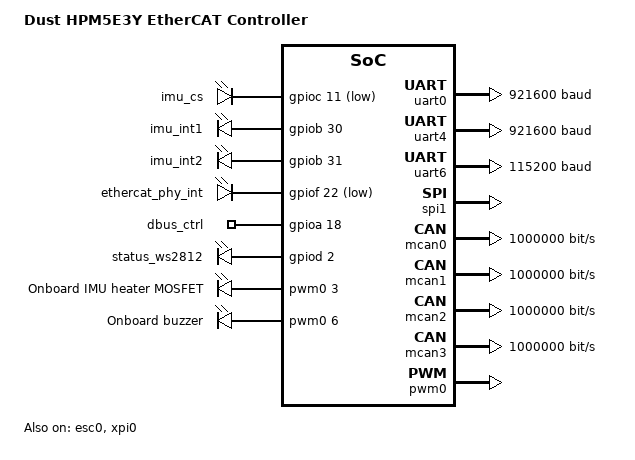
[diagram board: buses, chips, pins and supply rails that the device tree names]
/* SPDX-License-Identifier: Apache-2.0 */
/* Copyright (c) 2026 */

/dts-v1/;
#include <hpmicro/hpm5e31.dtsi>
#include <zephyr/dt-bindings/pwm/pwm.h>
#include "dust-hpm5e3y-pinctrl.dtsi"

/ {
	model = "Dust HPM5E3Y EtherCAT Controller";
	compatible = "dust,hpm5e3y";

	aliases {
		canbus = &mcan0;
		ethercat0 = &esc0;
		onboard-imu-cs = &imu_cs;
		onboard-imu-int1 = &imu_int1;
		onboard-imu-drdy = &imu_int1;
		onboard-imu-int2 = &imu_int2;
		ethercat-phy-int = &ethercat_phy_int;
		dbus-control = &dbus_ctrl;
		onboard-imu-heater = &onboard_imu_heater;
		pwm-buzzer = &pwm_buzzer;
		ws2812 = &status_ws2812;
		coredump-partition = &coredump_partition;
	};

	chosen {
		/* UART0 is reserved for binary telemetry; diagnostics use RTT. */
		zephyr,sram = &sram;
		zephyr,flash = &flash0;
		zephyr,itcm = &ilm;
		zephyr,dtcm = &dlm;
		zephyr,code-partition = &slot0_partition;
		zephyr,flash-controller = &xpi0;
		zephyr,canbus = &can0;
		wbr-control,oscilloscope-uart = &uart0;
		wbr-control,remote-input-uart = &uart4;
		wbr-control,hi91-uart = &uart6;
		wbr-control,onboard-imu-spi = &spi1;
	};

	board_gpios {
		compatible = "gpio-leds";
		imu_cs: imu_cs { gpios = <&gpioc 11 GPIO_ACTIVE_LOW>; };
		imu_int1: imu_int1 { gpios = <&gpiob 30 GPIO_ACTIVE_HIGH>; };
		imu_int2: imu_int2 { gpios = <&gpiob 31 GPIO_ACTIVE_HIGH>; };
		ethercat_phy_int: ethercat_phy_int { gpios = <&gpiof 22 GPIO_ACTIVE_LOW>; };
		dbus_ctrl: dbus_ctrl { gpios = <&gpioa 18 GPIO_ACTIVE_HIGH>; };
		status_ws2812: status_ws2812 { gpios = <&gpiod 2 GPIO_ACTIVE_HIGH>; };
	};

	pwm_outputs {
		compatible = "pwm-leds";
		onboard_imu_heater: onboard_imu_heater {
			pwms = <&pwm0 3 PWM_KHZ(20) PWM_POLARITY_NORMAL>;
			label = "Onboard IMU heater MOSFET";
		};
		pwm_buzzer: pwm_buzzer {
			pwms = <&pwm0 6 PWM_HZ(2000) PWM_POLARITY_NORMAL>;
			label = "Onboard buzzer";
		};
	};
};

&uart0 {
	status = "okay";
	/* UART0 carries the VOFA stream; interactive diagnostics use RTT. */
	current-speed = <921600>;
	pinctrl-0 = <&pinmux_uart0>;
	pinctrl-names = "default";
	/* HPM5E3Y DMAMUX request 9 is UART0 TX. Reserve RX request 8 too so
	 * Zephyr exposes the driver's async API used by VOFA transmission.
	 */
	dmas = <&hdma 0 8>, <&hdma 1 9>;
	dma-names = "rx", "tx";
};

&uart4 {
	status = "okay";
	current-speed = <921600>;
	pinctrl-0 = <&pinmux_uart4>;
	pinctrl-names = "default";
	dmas = <&hdma 2 16>, <&hdma 3 17>;
	dma-names = "rx", "tx";
};

&uart6 {
	status = "okay";
	current-speed = <115200>;
	pinctrl-0 = <&pinmux_uart6>;
	pinctrl-names = "default";
	dmas = <&hdma 4 20>, <&hdma 5 21>;
	dma-names = "rx", "tx";
};

&spi1 {
	status = "okay";
	pinctrl-0 = <&pinmux_spi1>;
	pinctrl-names = "default";
	dmas = <&hdma 6 2>, <&hdma 7 3>;
	dma-names = "rx", "tx";
};

&mcan0 { status = "okay"; interrupts = <46 2>; pinctrl-0 = <&pinmux_mcan0>; pinctrl-names = "default"; bitrate = <1000000>; can-transceiver { max-bitrate = <5000000>; }; };
&mcan1 { status = "okay"; interrupts = <47 2>; pinctrl-0 = <&pinmux_mcan1>; pinctrl-names = "default"; bitrate = <1000000>; can-transceiver { max-bitrate = <5000000>; }; };
&mcan2 { status = "okay"; interrupts = <48 2>; pinctrl-0 = <&pinmux_mcan2>; pinctrl-names = "default"; bitrate = <1000000>; can-transceiver { max-bitrate = <5000000>; }; };
&mcan3 { status = "okay"; interrupts = <49 2>; pinctrl-0 = <&pinmux_mcan3>; pinctrl-names = "default"; bitrate = <1000000>; can-transceiver { max-bitrate = <5000000>; }; };

&gpioa {
	status = "okay";
	pinctrl-0 = <&pinmux_board_gpio>;
	pinctrl-names = "default";
};
&gpiob { status = "okay"; };
&gpioc { status = "okay"; pinctrl-0 = <&pinmux_imu_cs>; pinctrl-names = "default"; };
&gpiod {
	status = "okay";
	pinctrl-0 = <&pinmux_ws2812_gpio>;
	pinctrl-names = "default";
};
&gpioe { status = "okay"; };
&gpiof { status = "okay"; pinctrl-0 = <&pinmux_esc_gpio>; pinctrl-names = "default"; };
&hdma { status = "okay"; };
&xdma { status = "okay"; };

&pwm0 {
	status = "okay";
	pinctrl-0 = <&pinmux_pwm0>;
	pinctrl-names = "default";
	period-init = <100>;
	dead-zone-in-half-cycle = <0>;
};

&esc0 {
	status = "okay";
	pinctrl-0 = <&pinmux_esc0>;
	pinctrl-names = "default";
	reset-gpios = <&gpiof 23 GPIO_ACTIVE_LOW>;
	phy-address-offset = <0>;
	/* Port0: internal SIP PHY0; port1: external TJA1101B. */
	phy-addresses = <1 0>;
	nmii-link-ctrl-indices = <0 0>;
	nmii-link-inverted = <0 0>;
	nmii-link-from-io-mask = <0>;
	eeprom-emulation;
	eeprom-read-size = <4>;
};

cherryusb_usb0: &usb0 {
	compatible = "hpmicro,hpm-cherryusb";
	status = "disabled";
};

&xpi0 {
	status = "okay";
	flash0: flash@0 {
		compatible = "hpmicro,hpmicro-flash", "soc-nv-flash";
		reg = <0x80000000 DT_SIZE_M(1)>;
		erase-block-size = <4096>;
		write-block-size = <1>;
		nor-cfg-opt-hdr = <0xfcf90002>;
		nor-cfg-opt-opt0 = <0x05>;
		nor-cfg-opt-opt1 = <0x1000>;
		partitions {
			compatible = "fixed-partitions";
			#address-cells = <1>;
			#size-cells = <1>;
			boot_partition: partition@0 { label = "boot"; reg = <0 0x3000>; };
			slot0_partition: partition@3000 { label = "image-0"; reg = <0x3000 0xbc000>; };
			slot1_partition: partition@bf000 { label = "image-1-reserved"; reg = <0xbf000 0x1000>; };
			scratch_partition: partition@c0000 { label = "scratch-reserved"; reg = <0xc0000 0x1000>; };
			ethercat_eeprom_partition: partition@d0000 { label = "ethercat-eeprom"; reg = <0xd0000 0x10000>; };
			coredump_partition: storage_partition: partition@e0000 {
				label = "coredump-partition";
				reg = <0xe0000 0x20000>;
			};
		};
	};
};
